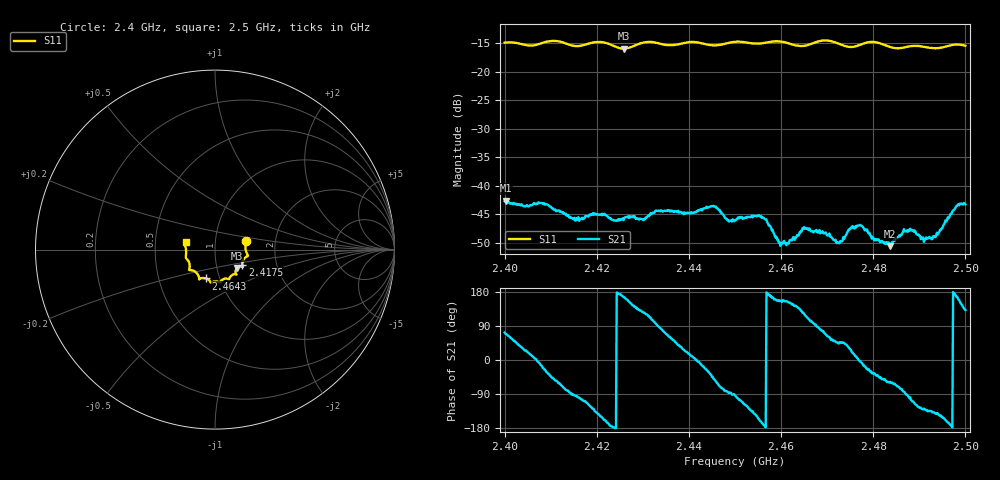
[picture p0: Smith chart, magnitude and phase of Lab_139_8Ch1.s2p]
# Hz S RI R 50
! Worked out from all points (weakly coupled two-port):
!   601 points, 2.4 GHz to 2.5 GHz, reference 50 ohm
!   highest |S21| = -42.62 dB at 2.4003 GHz (marker M1); lowest = -50.6 dB at 2.4837 GHz (marker M2)
!   lowest |S11| = -15.9 dB at 2.4258 GHz (marker M3), VSWR 1.38, Z = 62.3 - j13.2 ohm
!   |S11| at or under -10 dB: start of sweep to end of sweep
!   S12 and S22 are empty: the file has one direction only
!   S11 on the Smith chart (normalised r, x): 2.4 GHz: 1.41, +0.14; 2.4175 GHz: 1.34, -0.23; 2.4643 GHz: 0.86, -0.28; 2.5 GHz: 0.72, +0.06
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2.4e9  0.1732 0.0492  0.0022 0.00696  0 0  0 0
2.400333e9  0.1742 0.0479  0.00273 0.00687  0 0  0 0
2.408e9  0.1773 -0.0203  0.00681 -0.00179  0 0  0 0
2.416667e9  0.153 -0.0739  -0.00125 -0.00494  0 0  0 0
2.4175e9  0.1519 -0.0835  -0.00173 -0.00512  0 0  0 0
2.425833e9  0.122 -0.103  -0.00482 0.00124  0 0  0 0
2.43e9  0.1175 -0.1365  -0.00303 0.00408  0 0  0 0
2.433333e9  0.1138 -0.1369  6.08e-05 0.00603  0 0  0 0
2.445333e9  0.053 -0.1621  0.00436 -0.005  0 0  0 0
2.45e9  0.029 -0.1813  -0.000299 -0.00498  0 0  0 0
2.455667e9  -0.00374 -0.1775  -0.00516 -0.00158  0 0  0 0
2.46e9  -0.0246 -0.183  -0.00289 0.00124  0 0  0 0
2.464333e9  -0.05 -0.1607  -0.00254 0.00311  0 0  0 0
2.466667e9  -0.0763 -0.1593  -0.000765 0.00392  0 0  0 0
2.4725e9  -0.0894 -0.1522  0.00227 0.00216  0 0  0 0
2.477e9  -0.1269 -0.1157  0.00448 -0.000153  0 0  0 0
2.483333e9  -0.1409 -0.0896  0.00167 -0.00269  0 0  0 0
2.483667e9  -0.1412 -0.0859  0.00158 -0.00247  0 0  0 0
2.487833e9  -0.1595 -0.0505  -0.00076 -0.00394  0 0  0 0
2.493e9  -0.1606 -0.0139  -0.00266 -0.00241  0 0  0 0
2.498e9  -0.1704 0.0331  -0.00643 0.00141  0 0  0 0
2.5e9  -0.1638 0.043  -0.00456 0.0051  0 0  0 0
